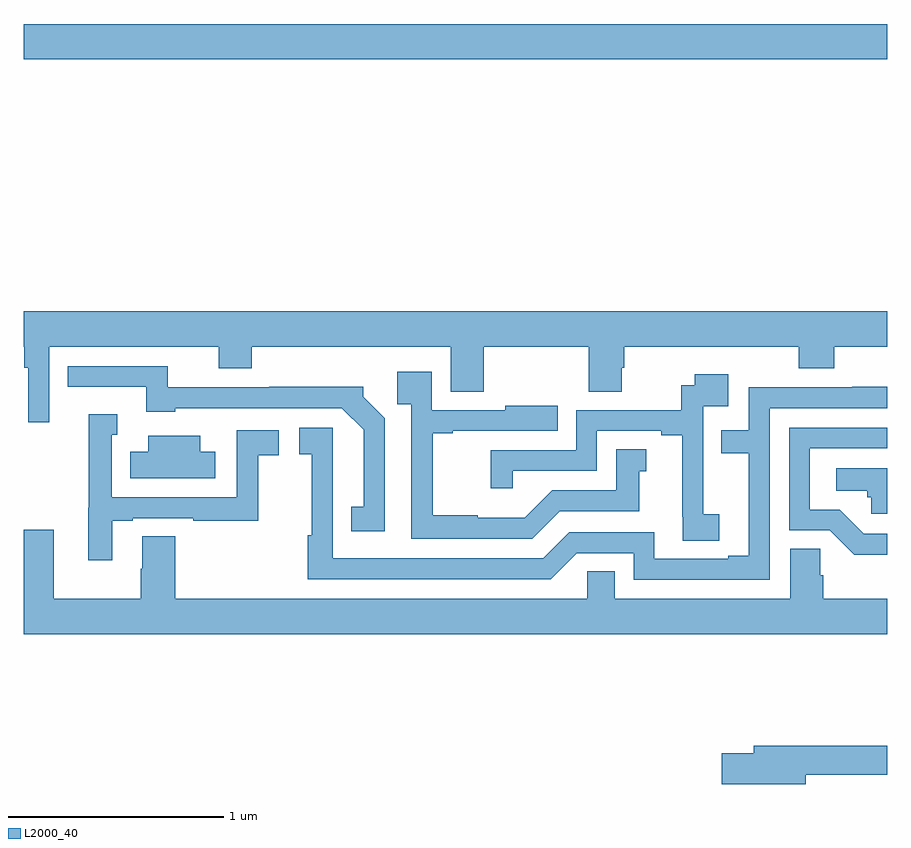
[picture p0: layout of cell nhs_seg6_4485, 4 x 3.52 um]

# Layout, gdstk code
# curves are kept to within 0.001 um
import gdstk
lib = gdstk.Library(unit=1e-6, precision=1e-09)
def R(c, l, rs):  # rectangles x0, y0, x1, y1
    for r in rs: c.add(gdstk.rectangle(r[:2], r[2:], *l))
def P(c, l, *ps):  # polygons
    for p in ps: c.add(gdstk.Polygon(p, *l))
L2000_40 = (2000, 40)

nhs_seg6_4485 = lib.new_cell('nhs_seg6_4485')
R(nhs_seg6_4485, L2000_40, [(375,979.304,379,979.468)])
P(nhs_seg6_4485, L2000_40, [(375,977.972),(375.001,977.972),(375.001,977.876),(375.02,977.876),(375.02,977.622),(375.117,977.622),(375.117,977.972),(375.902,977.972),(375.902,977.873),(376.055,977.873),(376.055,977.972),(376.979,977.972),(376.979,977.764),(377.132,977.764),(377.132,977.972),(377.618,977.972),(377.618,977.764),(377.77,977.764),(377.77,977.874),(377.783,977.874),(377.783,977.972),(378.59,977.972),(378.59,977.873),(378.755,977.873),(378.755,977.972),(379,977.972),(379,978.136),(375,978.136)],
  [(376.671,977.642),(376.572,977.741),(376.572,977.786),(376.138,977.786),(376.138,977.784),(375.666,977.784),(375.666,977.883),(375.202,977.883),(375.202,977.787),(375.566,977.787),(375.566,977.672),(375.702,977.672),(375.702,977.688),(376.473,977.688),(376.574,977.587),(376.574,977.231),(376.516,977.231),(376.516,977.118),(376.671,977.118)],
  [(377.484,977.211),(377.851,977.211),(377.851,977.395),(377.884,977.395),(377.884,977.498),(377.744,977.498),(377.744,977.307),(377.448,977.307),(377.32,977.179),(377.102,977.179),(377.102,977.191),(376.895,977.191),(376.895,977.571),(376.987,977.571),(376.987,977.583),(377.474,977.583),(377.474,977.698),(377.231,977.698),(377.231,977.679),(376.89,977.679),(376.89,977.857),(376.729,977.857),(376.729,977.705),(376.794,977.705),(376.794,977.082),(377.355,977.082)],
  [(378.223,977.196),(378.149,977.196),(378.149,977.393),(378.147,977.393),(378.147,977.697),(378.265,977.697),(378.265,977.845),(378.109,977.845),(378.109,977.793),(378.046,977.793),(378.046,977.679),(377.559,977.679),(377.559,977.493),(377.164,977.493),(377.164,977.316),(377.265,977.316),(377.265,977.397),(377.655,977.397),(377.655,977.583),(377.954,977.583),(377.954,977.563),(378.05,977.563),(378.05,977.185),(378.052,977.185),(378.052,977.074),(378.223,977.074)],
  [(378.456,977.688),(379,977.688),(379,977.786),(378.838,977.786),(378.838,977.784),(378.36,977.784),(378.36,977.586),(378.232,977.586),(378.232,977.478),(378.359,977.478),(378.359,977.004),(378.263,977.004),(378.263,976.989),(377.922,976.989),(377.922,977.112),(377.526,977.112),(377.406,976.992),(376.431,976.992),(376.432,977.596),(376.275,977.596),(376.275,977.475),(376.333,977.475),(376.333,977.099),(376.315,977.099),(376.315,976.896),(377.442,976.896),(377.562,977.016),(377.826,977.016),(377.826,976.893),(378.456,976.893)],
  [(375.409,977.166),(375.505,977.166),(375.505,977.178),(375.784,977.178),(375.784,977.166),(376.086,977.166),(376.086,977.47),(376.18,977.47),(376.18,977.586),(375.987,977.586),(375.987,977.274),(375.408,977.274),(375.408,977.565),(375.433,977.565),(375.433,977.659),(375.3,977.659),(375.3,977.227),(375.299,977.227),(375.299,976.983),(375.409,976.983)],
  [(379,977.106),(378.891,977.106),(378.78,977.217),(378.642,977.217),(378.642,977.502),(379,977.502),(379,977.598),(378.546,977.598),(378.546,977.121),(378.735,977.121),(378.848,977.009),(379,977.009)],
  [(375.886,977.485),(375.817,977.485),(375.817,977.56),(375.575,977.56),(375.575,977.485),(375.493,977.485),(375.493,977.363),(375.886,977.363)],
  [(379,977.41),(378.765,977.41),(378.765,977.306),(378.908,977.306),(378.908,977.274),(378.927,977.274),(378.927,977.199),(379,977.199)],
  [(379,976.804),(378.704,976.804),(378.704,976.913),(378.69,976.913),(378.69,977.036),(378.551,977.036),(378.551,976.804),(377.737,976.804),(377.737,976.931),(377.61,976.931),(377.61,976.804),(375.701,976.804),(375.701,977.093),(375.548,977.093),(375.548,976.943),(375.541,976.943),(375.541,976.804),(375.139,976.804),(375.139,977.125),(375,977.125),(375,976.64),(379,976.64)],
  [(378.622,975.988),(379,975.988),(379,976.124),(378.383,976.124),(378.383,976.088),(378.234,976.088),(378.234,975.946),(378.622,975.946)])

lib.write_gds('nhs_seg6_4485.gds')
